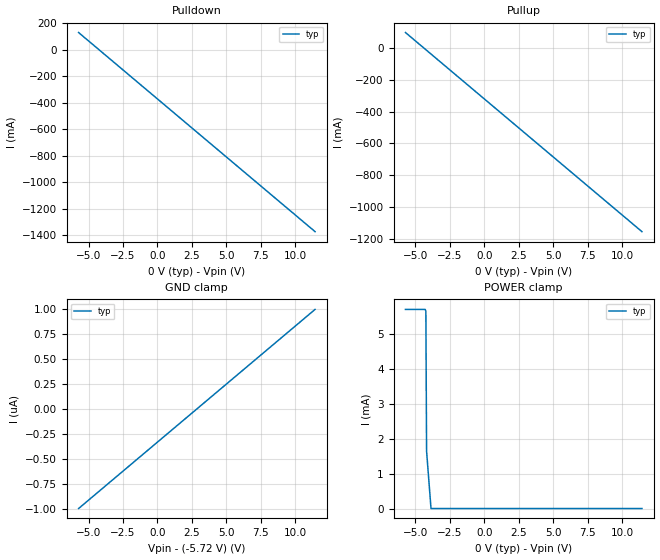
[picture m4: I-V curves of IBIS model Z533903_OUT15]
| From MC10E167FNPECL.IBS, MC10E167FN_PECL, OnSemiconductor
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| (C) COPYRIGHT 1993-2000
| MENTOR GRAPHICS CORPORATION
| ICX STANDARD LIBRARY, ICX PROJECT MODELING,
| ICX CUSTOM MODELING, ICX VENDOR MODEL
| ALL RIGHTS RESERVED.
| THE FOLLOWING ARE TRADEMARKS OR SERVICE MARKS OF
| MENTOR GRAPHICS CORPORATION:ICX (R), ICX STANDARD
| LIBRARY(R), ICX PROJECT MODELING(R), ICX CUSTOM
| MODELING(R), qualityIBIS(TM), MODELVIEWER(TM),
| AND MODELEDITOR(TM)
| ALL COPIES OF SOFTWARE, INCLUDING BUT NOT LIMITED TO
| ANY MODIFICATIONS, ENHANCEMENTS OR DERIVATIVE WORKS,
| MUST CONTAIN ALL MENTOR GRAPHICS CORPORATION'S
| NOTICES AND LEGENDS, INCLUDING THOSE EMBEDDED IN
| SOFTWARE AND THOSE AFFIXED TO SOFTWARE MEDIUM
| AND CONTAINER, AS RECEIVED FROM MENTOR GRAPHICS
| CORPORATION.
| Model Application Version 1.89 2/18/99.
[Model] Z533903_OUT15
Model_type Output_ECL
Vref=0.000V
Rref=500.0Mohms
Cref=50.00pF
Vmeas=3.620V
C_comp 8.000pF NA NA
| variable typ   min   max
[Voltage Range] -5.720V NA NA
[POWER Clamp Reference] 0.000V NA NA
[Pullup Reference] 0.000V NA NA
[Pulldown Reference] 0.000V NA NA
[GND Clamp Reference] -5.720V NA NA
[GND Clamp]
-5.72V    -1uA       NA         NA
11.44V    1uA        NA         NA
[Pulldown]
-5.72V    131.1mA    NA         NA
11.44V    -1.372A    NA         NA
[Pullup]
-5.72V    96.69mA    NA         NA
11.44V    -1.154A    NA         NA
[POWER Clamp]
-5.72V    5.714mA    NA         NA
-4.296V   5.714mA    NA         NA
-4.24V    5.671mA    NA         NA
-4.189V   1.651mA    NA         NA
-3.867V   0A         NA         NA
11.44V    0A         NA         NA
[Ramp]
| variable typ min max
dV/dt_r 82.82m/461.0p NA NA
dV/dt_f 82.82m/320.0p NA NA
R_load = 500.0Ohms
